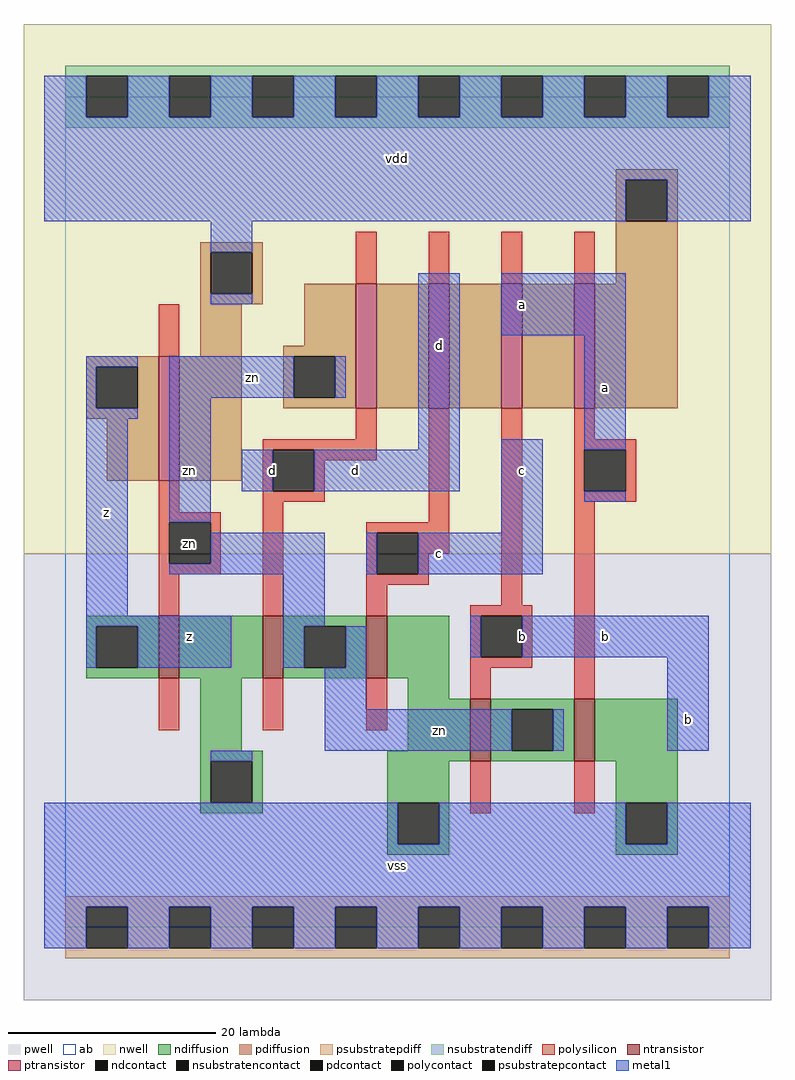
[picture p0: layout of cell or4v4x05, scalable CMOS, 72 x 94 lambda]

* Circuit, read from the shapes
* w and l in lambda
.subckt or4v4x05 a b c d vdd vss z zn
M1 vss zn z vss nfet w=6 l=2
M2 zn d vss vss nfet w=6 l=2
M3 vss c zn vss nfet w=6 l=2
M4 zn b vss vss nfet w=6 l=2
M5 vss a zn vss nfet w=6 l=2
M6 vdd zn z vdd pfet w=12 l=2
M7 n1 d zn vdd pfet w=12 l=2
M8 n2 c n1 vdd pfet w=12 l=2
M9 n3 b n2 vdd pfet w=12 l=2
M10 vdd a n3 vdd pfet w=12 l=2
.ends

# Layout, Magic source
magic
tech scmos
<< ab >>
rect 0 0 64 80
<< pwell >>
rect -4 -7 68 36
<< nwell >>
rect -4 36 68 87
<< polysilicon >>
rect 28 62 30 67
rect 35 62 37 67
rect 42 62 44 67
rect 49 62 51 67
rect 9 55 11 60
rect 28 47 30 50
rect 19 46 30 47
rect 9 40 11 43
rect 19 42 20 46
rect 24 45 30 46
rect 24 42 25 45
rect 19 41 25 42
rect 9 39 15 40
rect 9 35 10 39
rect 14 35 15 39
rect 9 34 15 35
rect 9 30 11 34
rect 19 30 21 41
rect 35 39 37 50
rect 29 38 37 39
rect 29 34 30 38
rect 34 36 37 38
rect 34 34 35 36
rect 29 33 35 34
rect 29 30 31 33
rect 42 31 44 50
rect 49 47 51 50
rect 49 46 55 47
rect 49 42 50 46
rect 54 42 55 46
rect 49 41 55 42
rect 39 30 45 31
rect 9 19 11 24
rect 19 19 21 24
rect 29 19 31 24
rect 39 26 40 30
rect 44 26 45 30
rect 39 25 45 26
rect 39 22 41 25
rect 49 22 51 41
rect 39 11 41 16
rect 49 11 51 16
<< ndiffusion >>
rect 2 29 9 30
rect 2 25 3 29
rect 7 25 9 29
rect 2 24 9 25
rect 11 24 19 30
rect 21 29 29 30
rect 21 25 23 29
rect 27 25 29 29
rect 21 24 29 25
rect 31 24 37 30
rect 13 17 17 24
rect 33 22 37 24
rect 33 17 39 22
rect 13 16 19 17
rect 13 12 14 16
rect 18 12 19 16
rect 13 11 19 12
rect 31 16 39 17
rect 41 21 49 22
rect 41 17 43 21
rect 47 17 49 21
rect 41 16 49 17
rect 51 16 59 22
rect 31 12 37 16
rect 31 8 32 12
rect 36 8 37 12
rect 53 12 59 16
rect 31 7 37 8
rect 53 8 54 12
rect 58 8 59 12
rect 53 7 59 8
<< pdiffusion >>
rect 53 72 59 73
rect 53 68 54 72
rect 58 68 59 72
rect 13 65 19 66
rect 13 61 14 65
rect 18 61 19 65
rect 53 62 59 68
rect 13 60 19 61
rect 13 55 17 60
rect 23 56 28 62
rect 2 54 9 55
rect 2 50 3 54
rect 7 50 9 54
rect 2 49 9 50
rect 4 43 9 49
rect 11 43 17 55
rect 21 55 28 56
rect 21 51 22 55
rect 26 51 28 55
rect 21 50 28 51
rect 30 50 35 62
rect 37 50 42 62
rect 44 50 49 62
rect 51 50 59 62
<< metal1 >>
rect -2 78 2 82
rect 6 78 10 82
rect 14 78 18 82
rect 22 78 26 82
rect 30 78 34 82
rect 38 78 42 82
rect 46 78 50 82
rect 54 78 58 82
rect 62 78 66 82
rect -2 72 66 78
rect -2 68 54 72
rect 58 68 66 72
rect 14 65 18 68
rect 14 60 18 61
rect 2 54 7 55
rect 2 50 3 54
rect 2 49 7 50
rect 10 51 22 55
rect 26 51 27 55
rect 2 30 6 49
rect 10 39 14 51
rect 34 46 38 63
rect 42 57 54 63
rect 17 42 20 46
rect 24 42 38 46
rect 42 38 46 47
rect 50 46 54 57
rect 50 41 54 42
rect 14 35 25 38
rect 10 34 25 35
rect 29 34 30 38
rect 34 34 46 38
rect 2 29 16 30
rect 2 25 3 29
rect 7 25 16 29
rect 21 29 25 34
rect 21 25 23 29
rect 27 25 29 29
rect 39 26 40 30
rect 44 26 62 30
rect 25 21 29 25
rect 25 17 43 21
rect 47 17 48 21
rect 58 17 62 26
rect 14 16 18 17
rect -2 8 32 12
rect 36 8 54 12
rect 58 8 66 12
rect -2 2 66 8
rect -2 -2 2 2
rect 6 -2 10 2
rect 14 -2 18 2
rect 22 -2 26 2
rect 30 -2 34 2
rect 38 -2 42 2
rect 46 -2 50 2
rect 54 -2 58 2
rect 62 -2 66 2
<< ntransistor >>
rect 9 24 11 30
rect 19 24 21 30
rect 29 24 31 30
rect 39 16 41 22
rect 49 16 51 22
<< ptransistor >>
rect 9 43 11 55
rect 28 50 30 62
rect 35 50 37 62
rect 42 50 44 62
rect 49 50 51 62
<< polycontact >>
rect 20 42 24 46
rect 10 35 14 39
rect 30 34 34 38
rect 50 42 54 46
rect 40 26 44 30
<< ndcontact >>
rect 3 25 7 29
rect 23 25 27 29
rect 14 12 18 16
rect 43 17 47 21
rect 32 8 36 12
rect 54 8 58 12
<< pdcontact >>
rect 54 68 58 72
rect 14 61 18 65
rect 3 50 7 54
rect 22 51 26 55
<< psubstratepcontact >>
rect 2 -2 6 2
rect 10 -2 14 2
rect 18 -2 22 2
rect 26 -2 30 2
rect 34 -2 38 2
rect 42 -2 46 2
rect 50 -2 54 2
rect 58 -2 62 2
<< nsubstratencontact >>
rect 2 78 6 82
rect 10 78 14 82
rect 18 78 22 82
rect 26 78 30 82
rect 34 78 38 82
rect 42 78 46 82
rect 50 78 54 82
rect 58 78 62 82
<< psubstratepdiff >>
rect 0 2 64 3
rect 0 -2 2 2
rect 6 -2 10 2
rect 14 -2 18 2
rect 22 -2 26 2
rect 30 -2 34 2
rect 38 -2 42 2
rect 46 -2 50 2
rect 54 -2 58 2
rect 62 -2 64 2
rect 0 -3 64 -2
<< nsubstratendiff >>
rect 0 82 64 83
rect 0 78 2 82
rect 6 78 10 82
rect 14 78 18 82
rect 22 78 26 82
rect 30 78 34 82
rect 38 78 42 82
rect 46 78 50 82
rect 54 78 58 82
rect 62 78 64 82
rect 0 77 64 78
<< labels >>
rlabel polycontact 12 37 12 37 6 zn
rlabel metal1 4 40 4 40 6 z
rlabel metal1 12 28 12 28 6 z
rlabel metal1 20 44 20 44 6 d
rlabel metal1 12 44 12 44 6 zn
rlabel metal1 32 6 32 6 6 vss
rlabel metal1 28 44 28 44 6 d
rlabel metal1 36 36 36 36 6 c
rlabel metal1 18 53 18 53 6 zn
rlabel metal1 36 56 36 56 6 d
rlabel metal1 32 74 32 74 6 vdd
rlabel metal1 36 19 36 19 6 zn
rlabel metal1 44 28 44 28 6 b
rlabel metal1 44 44 44 44 6 c
rlabel metal1 44 60 44 60 6 a
rlabel metal1 52 28 52 28 6 b
rlabel metal1 60 20 60 20 6 b
rlabel metal1 52 52 52 52 6 a
<< end >>
